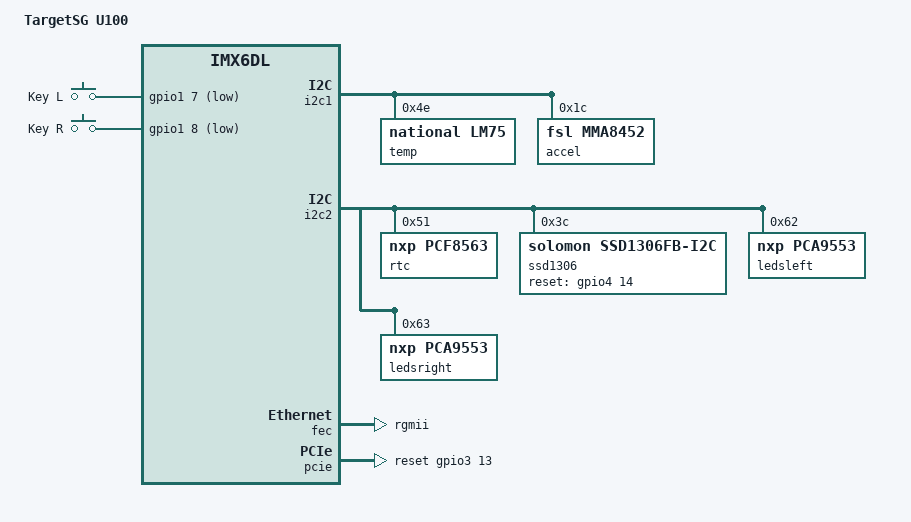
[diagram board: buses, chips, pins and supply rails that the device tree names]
// SPDX-License-Identifier: GPL-2.0
//
// Copyright 2016 Kai Ruhnau <kai.ruhnau@target-sg.com>

/dts-v1/;

#include "imx6dl-trizeps-vii.dtsi"
#include <dt-bindings/leds/leds-pca955x.h>

/ {
	model = "TargetSG U100";
	compatible = "targetsg,u100", "keithkoep,imx6dl-trizeps-vii",
		     "fsl,imx6dl";

	chosen {
		stdout-path = &uart2;
	};

	keys {
		compatible = "gpio-keys";
		status = "ok";
		pinctrl-names = "default";
		pinctrl-0 = <&pinctrl_keys>;

		left {
			label = "Key L";
			gpios = <&gpio1 7 GPIO_ACTIVE_LOW>;
			linux,code = <KEY_L>;
		};
		right {
			label = "Key R";
			gpios = <&gpio1 8 GPIO_ACTIVE_LOW>;
			linux,code = <KEY_R>;
		};
	};
};

&i2c1 {
	status = "okay";
	temp: temp@4e {
		compatible = "national,lm75";
		reg = <0x4E>;
		status = "okay";
	};
	accel: accel@1c {
		compatible = "fsl,mma8452";
		reg = <0x1C>;
		status = "okay";
	};
};
&i2c2 {
	rtc: rtc@51 {
		compatible = "nxp,pcf8563";
		reg = <0x51>;
		status = "okay";
	};
	ssd1306: ssd1306@3c {
		compatible = "solomon,ssd1306fb-i2c";
		reg = <0x3C>;
		status = "okay";
		solomon,height = <32>;
		solomon,width = <128>;
		solomon,com-invdir = <1>;
		solomon,page-offset = <0>;
		reset-gpios = <&gpio4 14 GPIO_ACTIVE_HIGH>;
		pinctrl-names = "default";
		pinctrl-0 = <&pinctrl_solomon>;
	};
	ledsleft: pca9553@62 {
		compatible = "nxp,pca9553";
		reg = < 0x62 >;
		#address-cells = <1>;
		#size-cells = <0>;

		led@0 {
			label = "left-red";
			reg = <0>;
			type = <PCA955X_TYPE_LED>;
		};
		led@1 {
			label = "left-green";
			reg = <1>;
			type = <PCA955X_TYPE_LED>;
		};
		led@2 {
			label = "left-blue";
			reg = <2>;
			type = <PCA955X_TYPE_LED>;
		};
		led@3 {
			reg = <3>;
			type = <PCA955X_TYPE_NONE>;
		};
	};
	ledsright: pca9553@63 {
		compatible = "nxp,pca9553";
		reg = < 0x63 >;
		#address-cells = <1>;
		#size-cells = <0>;

		led@0 {
			label = "right-red";
			reg = <0>;
			type = <PCA955X_TYPE_LED>;
		};
		led@1 {
			label = "right-green";
			reg = <1>;
			type = <PCA955X_TYPE_LED>;
		};
		led@2 {
			label = "right-blue";
			reg = <2>;
			type = <PCA955X_TYPE_LED>;
		};
		led@3 {
			reg = <3>;
			type = <PCA955X_TYPE_NONE>;
		};
	};
};

&fec {
	pinctrl-0 = <&pinctrl_enet_4_rgmii>;
	phy-mode = "rgmii";
	status = "okay";
};

&pcie {
	status = "okay";
	reset-gpio = <&gpio3 13 0>;
	wake-up-gpio = <&gpio6 7 0>;
};

&iomuxc {
	u100 {
		pinctrl_keys: gpio_keysgrp {
			fsl,pins = <
				MX6QDL_PAD_GPIO_7__GPIO1_IO07	0x80000000
				MX6QDL_PAD_GPIO_8__GPIO1_IO08	0x80000000
			>;
		};
		pinctrl_solomon: solomon {
			fsl,pins = <
				MX6QDL_PAD_KEY_COL4__GPIO4_IO14 0x80000000
			>;
		};
	};
};
